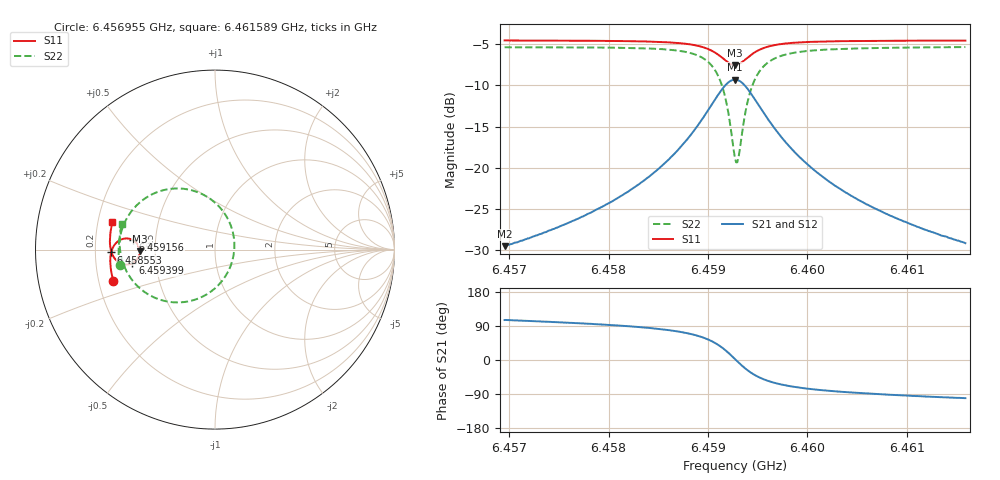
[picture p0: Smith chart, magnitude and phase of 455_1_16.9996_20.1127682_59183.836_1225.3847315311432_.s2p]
#  HZ  S  RI  R  50.00
! Rohde & Schwarz Vector Network Analyzer
! Rohde-Schwarz,ZNB20-2Port,1311601062101988,3.16
! Created: UTC 3/20/2024, 11:12:25 PM
! freq[Hz]  re:S11  im:S11  re:S21  im:S21  re:S12  im:S12  re:S22  im:S22
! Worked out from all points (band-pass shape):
!   401 points, 6.456955 GHz to 6.461589 GHz, reference 50 ohm
!   highest |S21| = -9.30 dB at 6.459272 GHz (marker M1); lowest = -29.5 dB at 6.456955 GHz (marker M2)
!   |S21| within 3 dB of the highest: 6.45904 GHz to 6.459503 GHz (463.3 kHz wide, 0.00717 % of centre)
!   lowest |S11| = -7.5 dB at 6.459272 GHz (marker M3), VSWR 2.45, Z = 20.4 - j0.522 ohm
!   |S11| at or under -10 dB: nowhere
!   |S22| runs from -19.4 to -5.4 dB; largest |S21 - S12| = 0.013
!   S11 on the Smith chart (normalised r, x): 6.456955 GHz: 0.26, -0.14; 6.458553 GHz: 0.27, -0.01; 6.459156 GHz: 0.37, +0.05; 6.459399 GHz: 0.37, -0.07; 6.461589 GHz: 0.26, +0.12
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6.4569545e9  -0.5661 -0.1739  -0.00889 0.0322  -0.00723 0.0321  -0.5314 -0.087
6.4577307e9  -0.5805 -0.1062  -0.00576 0.05  -0.00319 0.0493  -0.5372 0.00339
6.458171e9  -0.5836 -0.0622  0.000364 0.07  0.00371 0.0686  -0.5289 0.0731
6.458507e9  -0.5799 -0.0221  0.0139 0.0979  0.0179 0.0953  -0.5043 0.1485
6.4585533e9  -0.5785 -0.0158  0.0173 0.1034  0.0212 0.1004  -0.498 0.1615
6.4587619e9  -0.5663 0.016  0.0432 0.1349  0.0474 0.1302  -0.4495 0.2329
6.4589125e9  -0.5453 0.0423  0.0855 0.165  0.0889 0.1585  -0.3713 0.2969
6.4590631e9  -0.4993 0.0619  0.1767 0.1839  0.1779 0.1766  -0.2045 0.3407
6.4591558e9  -0.4552 0.0519  0.2661 0.1532  0.2664 0.1472  -0.0391 0.2911
6.4592021e9  -0.4341 0.0332  0.3095 0.1106  0.3107 0.1054  0.0434 0.2154
6.4592716e9  -0.4194 -0.0105  0.3426 0.0146  0.3461 0.00763  0.1079 0.0371
6.4592832e9  -0.4198 -0.0185  0.3424 -0.00324  0.3462 -0.0108  0.1076 0.00379
6.4593064e9  -0.4232 -0.0339  0.3369 -0.0375  0.3407 -0.0466  0.0967 -0.0616
6.4593527e9  -0.4388 -0.0598  0.3087 -0.0971  0.3108 -0.1089  0.0398 -0.174
6.4593991e9  -0.4606 -0.076  0.267 -0.1379  0.2661 -0.1511  -0.0446 -0.2485
6.4594918e9  -0.5036 -0.0826  0.1828 -0.1688  0.1769 -0.1803  -0.212 -0.2944
6.4596424e9  -0.5471 -0.0621  0.0957 -0.1552  0.0872 -0.1614  -0.3784 -0.2455
6.4598046e9  -0.5686 -0.0345  0.051 -0.1278  0.0435 -0.1304  -0.4582 -0.174
6.4600479e9  -0.5813 0.0011  0.0221 -0.0964  0.0164 -0.097  -0.5062 -0.092
6.4603839e9  -0.5855 0.0409  0.00653 -0.0704  0.00246 -0.0701  -0.527 -0.0152
6.4608241e9  -0.5836 0.0851  -0.00152 -0.0514  -0.00412 -0.0505  -0.5316 0.0551
6.4615888e9  -0.5711 0.1526  -0.00644 -0.0342  -0.00816 -0.0333  -0.5202 0.145
